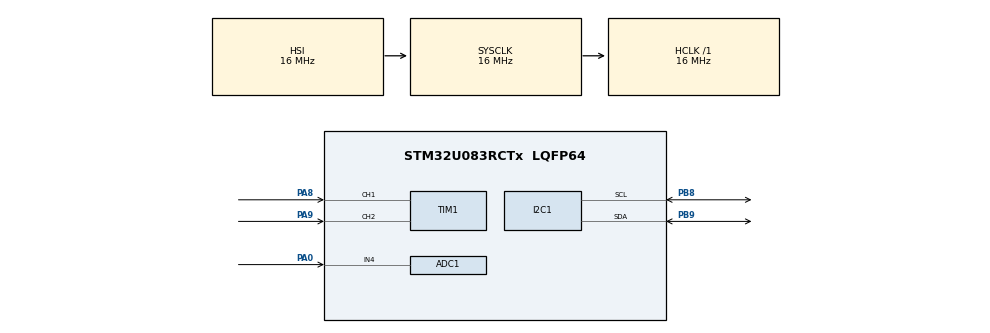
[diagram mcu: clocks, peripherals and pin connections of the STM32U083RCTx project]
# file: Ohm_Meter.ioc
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ADC1.Channel-1\#ChannelRegularConversion=ADC_CHANNEL_4
ADC1.DMAContinuousRequests=DISABLE
ADC1.NbrOfConversion=1
ADC1.NbrOfConversionFlag=1
ADC1.OversamplingMode=ENABLE
ADC1.Rank-1\#ChannelRegularConversion=1
ADC1.RankArg-1\#ChannelRegularConversion=ADC_REGULAR_RANK_1
ADC1.Ratio=ADC_OVERSAMPLING_RATIO_32
ADC1.RightBitShift=ADC_RIGHTBITSHIFT_5
ADC1.SamplingTime-1\#ChannelRegularConversion=ADC_SAMPLINGTIME_COMMON_1
ADC1.SamplingTimeCommon1=ADC_SAMPLETIME_1CYCLE_5
ADC1.SamplingTimeCommon2=ADC_SAMPLETIME_1CYCLE_5
ADC1.SelectedChannel=ADC_CHANNEL_4
ADC1.TriggerFrequencyMode=ADC_TRIGGER_FREQ_HIGH
ADC1.master=1
Dma.ADC1.0.Direction=DMA_PERIPH_TO_MEMORY
Dma.ADC1.0.EventEnable=DISABLE
Dma.ADC1.0.Instance=DMA1_Channel1
Dma.ADC1.0.MemDataAlignment=DMA_MDATAALIGN_HALFWORD
Dma.ADC1.0.MemInc=DMA_MINC_ENABLE
Dma.ADC1.0.Mode=DMA_NORMAL
Dma.ADC1.0.PeriphDataAlignment=DMA_PDATAALIGN_HALFWORD
Dma.ADC1.0.PeriphInc=DMA_PINC_DISABLE
Dma.ADC1.0.Polarity=HAL_DMAMUX_REQ_GEN_RISING
Dma.ADC1.0.Priority=DMA_PRIORITY_LOW
Dma.ADC1.0.RequestNumber=1
Dma.ADC1.0.SignalID=NONE
Dma.ADC1.0.SyncEnable=DISABLE
Dma.ADC1.0.SyncPolarity=HAL_DMAMUX_SYNC_NO_EVENT
Dma.ADC1.0.SyncRequestNumber=1
Dma.ADC1.0.SyncSignalID=NONE
Dma.Request0=ADC1
I2C1.Timing=0x00303D5B
Mcu.Family=STM32U0
Mcu.Name=STM32U083RCTx
Mcu.Package=LQFP64
NVIC.DMA1_Channel1_IRQn=true\:0\:0\:false\:false\:true\:false\:true\:true
NVIC.PriorityGroup=NVIC_PRIORITYGROUP_2
NVIC.TIM1_CC_IRQn=true\:0\:0\:false\:false\:true\:true\:true\:true
PA0.Mode=IN4
PA0.Signal=ADC1_IN4
PA8.Signal=S_TIM1_CH1
PA9.Signal=S_TIM1_CH2
PB8.GPIO_FM8=__NULL
PB8.GPIO_Mode=GPIO_MODE_AF_OD
PB8.GPIO_Pu=GPIO_PULLUP
PB8.GPIO_Speed=GPIO_SPEED_FREQ_LOW
PB8.Mode=I2C
PB8.Signal=I2C1_SCL
PB9.GPIO_FM9=__NULL
PB9.GPIO_Mode=GPIO_MODE_AF_OD
PB9.GPIO_Pu=GPIO_PULLUP
PB9.GPIO_Speed=GPIO_SPEED_FREQ_LOW
PB9.Mode=I2C
PB9.Signal=I2C1_SDA
ProjectManager.HeapSize=0x200
ProjectManager.StackSize=0x400
ProjectManager.TargetToolchain=STM32CubeIDE
RCC.AHBFreq_Value=16000000
RCC.CortexFreq_Value=16000000
RCC.HCLKFreq_Value=16000000
RCC.HSE_VALUE=4000000
RCC.HSI48_VALUE=48000000
RCC.HSI_VALUE=16000000
RCC.LSE_VALUE=32768
RCC.MSI_VALUE=4000000
RCC.SYSCLKFreq_VALUE=16000000
RCC.VCOOutputFreq_Value=64000000
SH.S_TIM1_CH1.0=TIM1_CH1,Encoder_Interface
SH.S_TIM1_CH2.0=TIM1_CH2,Encoder_Interface
TIM1.EncoderMode=TIM_ENCODERMODE_TI1
TIM1.IC1Polarity=TIM_ICPOLARITY_FALLING
TIM1.IC1Prescaler=TIM_ICPSC_DIV1
TIM1.IC2Prescaler=TIM_ICPSC_DIV1
VP_PWR_VS_SECSignals.Mode=Security/Privilege
board=NUCLEO-U083RC

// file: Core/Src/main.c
/* USER CODE BEGIN Header */
/**
 ******************************************************************************
 * @file           : main.c
 * @brief          : Main program body
 ******************************************************************************
 * @attention
 *
 * Copyright (c) 2024 STMicroelectronics.
 * All rights reserved.
 *
 * This software is licensed under terms that can be found in the LICENSE file
 * in the root directory of this software component.
 * If no LICENSE file comes with this software, it is provided AS-IS.
 *
 ******************************************************************************
 */
/* USER CODE END Header */
#include "main.h"
#include "adc.h"
#include "dma.h"
#include "i2c.h"
#include "tim.h"
#include "gpio.h"

/* USER CODE BEGIN Includes */
#include "resistor.h"
#include "i2c-lcd.h"
#include "LCD_UI.h"
#include "math.h"
/* USER CODE END Includes */

/* USER CODE BEGIN PTD */
uint8_t flags;

typedef enum Flags
{

	ADCconv,
	ScreenWrite

} Flags;

/* USER CODE END PTD */

/* USER CODE BEGIN PV */

R_paramTypeDef R_config;

/* USER CODE END PV */

void SystemClock_Config(void);
/* USER CODE BEGIN PFP */

void R_param_init(void);

void GET_ADC_IN4(void);
void resistor_measure(void);

/* USER CODE END PFP */

/* USER CODE BEGIN 0 */

uint32_t counter = 0;
int16_t encoder_counter = 0;

uint32_t adc_buffer = 0;
uint32_t adc_avg = 0;

void HAL_TIM_IC_CaptureCallback(TIM_HandleTypeDef * htim)
{
	counter = __HAL_TIM_GET_COUNTER(&htim1);

	encoder_counter = (int16_t)counter / 2;
}

void HAL_ADC_ConvCpltCallback(ADC_HandleTypeDef * hadc)
{
	R_config.ADC = adc_buffer;
}

/* USER CODE END 0 */

int main(void)
{

	/* MCU Configuration--------------------------------------------------------*/

	/* Reset of all peripherals, Initializes the Flash interface and the Systick. */
	HAL_Init();

	/* Configure the system clock */
	SystemClock_Config();

	/* Initialize all configured peripherals */
	MX_GPIO_Init();
	MX_DMA_Init();
	MX_ADC1_Init();
	MX_I2C1_Init();
	MX_TIM1_Init();
	/* USER CODE BEGIN 2 */
	HAL_ADCEx_Calibration_Start(&hadc1);
	HAL_TIM_Encoder_Start_IT(&htim1, TIM_CHANNEL_ALL);

	R_param_init();

	lcd_init();
	HAL_Delay(1);

	screenMenu();

	/* USER CODE END 2 */

	/* Initialize leds */

	/* Infinite loop */
	/* USER CODE BEGIN WHILE */
	while (1)
	{
		GET_ADC_IN4();

		resistor_measure();
		screenMeasurements();
		resistor_flush();

		/* USER CODE END WHILE */

	}
}

void SystemClock_Config(void)
{
	RCC_OscInitTypeDef RCC_OscInitStruct = {0};
	RCC_ClkInitTypeDef RCC_ClkInitStruct = {0};

	/** Configure the main internal regulator output voltage
	 */
	HAL_PWREx_ControlVoltageScaling(PWR_REGULATOR_VOLTAGE_SCALE2);

	/** Initializes the RCC Oscillators according to the specified parameters
	 * in the RCC_OscInitTypeDef structure.
	 */
	RCC_OscInitStruct.OscillatorType = RCC_OSCILLATORTYPE_HSI;
	RCC_OscInitStruct.HSIState = RCC_HSI_ON;
	RCC_OscInitStruct.HSICalibrationValue = RCC_HSICALIBRATION_DEFAULT;
	RCC_OscInitStruct.PLL.PLLState = RCC_PLL_NONE;
	if (HAL_RCC_OscConfig(&RCC_OscInitStruct) != HAL_OK)
	{
		Error_Handler();
	}

	/** Initializes the CPU, AHB and APB buses clocks
	 */
	RCC_ClkInitStruct.ClockType = RCC_CLOCKTYPE_HCLK|RCC_CLOCKTYPE_SYSCLK
			|RCC_CLOCKTYPE_PCLK1;
	RCC_ClkInitStruct.SYSCLKSource = RCC_SYSCLKSOURCE_HSI;
	RCC_ClkInitStruct.AHBCLKDivider = RCC_SYSCLK_DIV1;
	RCC_ClkInitStruct.APB1CLKDivider = RCC_HCLK_DIV1;

	if (HAL_RCC_ClockConfig(&RCC_ClkInitStruct, FLASH_LATENCY_1) != HAL_OK)
	{
		Error_Handler();
	}
}

/* USER CODE BEGIN 4 */

void R_param_init(void)
{
	R_config.Eseries = 24;
}

void GET_ADC_IN4(void)
{
	HAL_ADC_Start_DMA(&hadc1, &adc_buffer, 1);
	HAL_Delay(1);
}

/* USER CODE END 4 */

void Error_Handler(void)
{
	__disable_irq();
	while (1) {
	}
}
